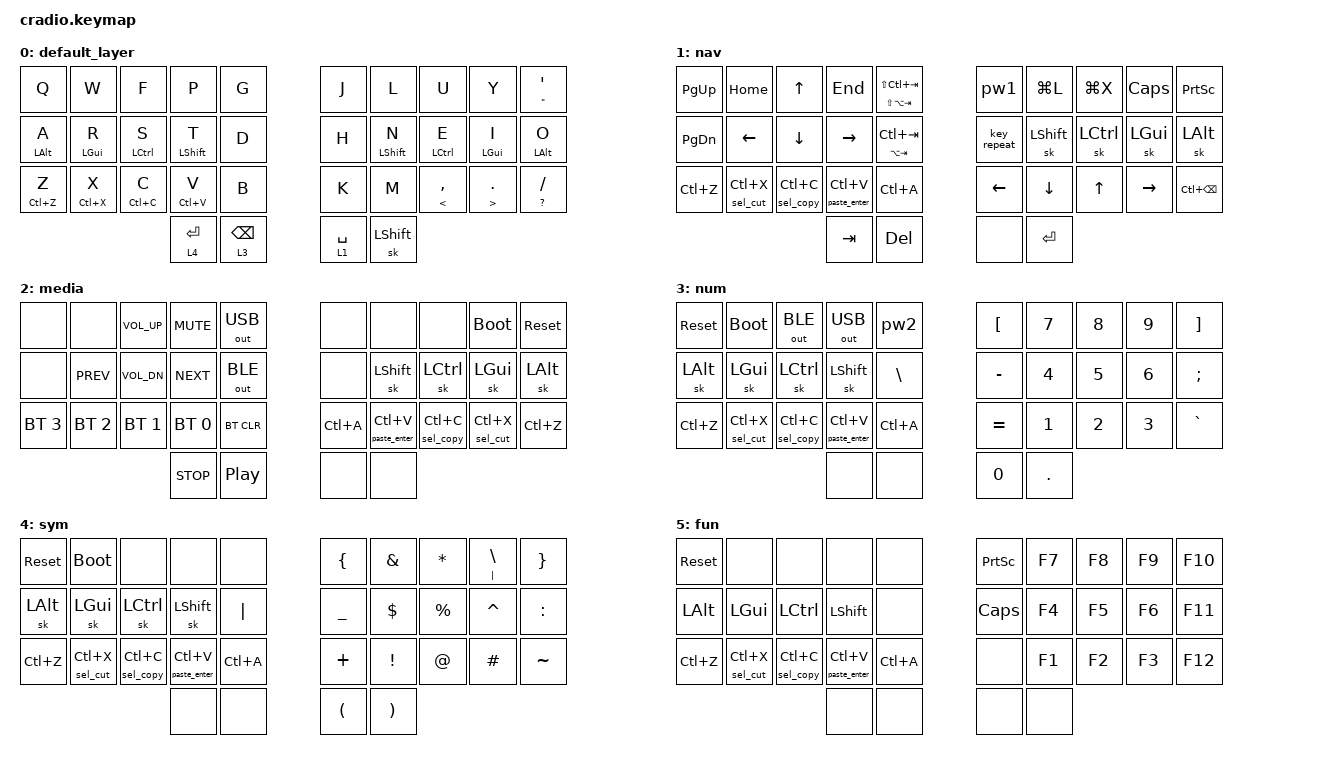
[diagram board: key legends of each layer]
// Copyright (c) 2022 The ZMK Contributors
// SPDX-License-Identifier: MIT

#include <behaviors.dtsi>
#include <dt-bindings/zmk/bt.h>
#include <dt-bindings/zmk/keys.h>
#include <dt-bindings/zmk/outputs.h>

// Home row mods macro

/ {
    behaviors {
        hrm: home_row_mod {
            label = "home_row_mod";
            compatible = "zmk,behavior-hold-tap";
            #binding-cells = <2>;
            flavor = "balanced";
            tapping-term-ms = <400>;
            bindings = <&kp>, <&kp>;

            global-quick-tap;
            quick-tap-ms = <200>;
        };

        ht: hold_tap {
            compatible = "zmk,behavior-hold-tap";
            label = "HOLD_TAP";
            bindings = <&kp>, <&kp>;

            #binding-cells = <2>;
            tapping-term-ms = <220>;
            quick-tap-ms = <150>;
            global-quick-tap;
            flavor = "tap-preferred";
        };

        paste: paste {
            compatible = "zmk,behavior-hold-tap";
            label = "PASTE";
            bindings = <&paste_enter>, <&kp>;

            #binding-cells = <2>;
            tapping-term-ms = <200>;
            flavor = "tap-preferred";
        };

        copy: copy {
            compatible = "zmk,behavior-hold-tap";
            label = "COPY";
            bindings = <&sel_copy>, <&kp>;

            #binding-cells = <2>;
            tapping-term-ms = <200>;
            flavor = "tap-preferred";
        };

        cut: cut {
            compatible = "zmk,behavior-hold-tap";
            label = "CUT";
            bindings = <&sel_cut>, <&kp>;

            #binding-cells = <2>;
            tapping-term-ms = <200>;
            flavor = "tap-preferred";
        };

        sh_cw: shift_caps_word {
            compatible = "zmk,behavior-tap-dance";
            label = "SHIFT_CAPS_WORD";
            #binding-cells = <0>;
            bindings = <&sk LSHFT>, <&caps_word>;
        };
    };

    conditional_layers { compatible = "zmk,conditional-layers"; };

    combos {
        compatible = "zmk,combos";

        fun_pscrn {
            bindings = <&lt 5 PSCRN>;
            key-positions = <30 31>;
            layers = <0>;
        };

        media {
            bindings = <&lt 2 C_PLAY_PAUSE>;
            key-positions = <33 32>;
        };

        esc {
            bindings = <&kp ESC>;
            key-positions = <31 32>;
        };

        capsword {
            bindings = <&caps_word>;
            key-positions = <13 16>;
        };

        del {
            bindings = <&kp DEL>;
            key-positions = <30 33>;
        };
    };

    macros {
        pw1: pw1 {
            compatible = "zmk,behavior-macro";
            label = "PW1";
            #binding-cells = <0>;
            bindings = <&kp LS(F) &kp N &kp STAR &kp C &kp EQUAL &kp STAR &kp COLON &kp LT &kp M &kp W &kp Y &kp LS(H) &kp LS(M) &kp J &kp N6 &kp RET>;
        };

        paste_enter: paste_enter {
            compatible = "zmk,behavior-macro";
            label = "PASTE_ENTER";
            #binding-cells = <0>;
            bindings = <&kp LC(V) &kp RET>;
        };

        sel_cut: sel_cut {
            compatible = "zmk,behavior-macro";
            label = "SEL_CUT";
            #binding-cells = <0>;
            bindings = <&kp LC(A) &kp LC(X)>;
        };

        sel_copy: sel_copy {
            compatible = "zmk,behavior-macro";
            label = "SEL_COPY";
            #binding-cells = <0>;
            bindings = <&kp LC(A) &kp LC(C)>;
        };

        pw2: pw2 {
            compatible = "zmk,behavior-macro";
            label = "PW2";
            #binding-cells = <0>;
            bindings = <&kp LS(T) &kp LS(L) &kp LS(H) &kp LS(A) &kp D &kp LS(C) &kp K &kp N7 &kp LS(A) &kp LS(Z) &kp LS(D) &kp N &kp N8 &kp N2 &kp P &kp LS(P) &kp RET>;
        };
    };

    keymap {
        compatible = "zmk,keymap";

        default_layer {
            bindings = <
&kp Q        &kp W        &kp F         &kp P         &kp G              &kp J        &kp L         &kp U         &kp Y        &ht DOUBLE_QUOTES APOS
&hrm LALT A  &hrm LGUI R  &hrm LCTRL S  &hrm LSHFT T  &kp D              &kp H        &hrm LSHFT N  &hrm LCTRL E  &hrm LGUI I  &hrm LALT O
&ht LC(Z) Z  &ht LC(X) X  &ht LC(C) C   &ht LC(V) V   &kp B              &kp K        &kp M         &ht LT COMMA  &ht GT DOT   &ht QMARK SLASH
                                        &lt 4 RET     &lt 3 BACKSPACE    &lt 1 SPACE  &sk LSHFT
            >;
        };

        nav {
            bindings = <
&kp PG_UP  &kp HOME      &kp UP         &kp END         &ht LS(LA(TAB)) LS(LC(TAB))    &pw1         &kp LG(L)  &kp LG(X)  &kp CAPS   &kp PRINTSCREEN
&kp PG_DN  &kp LEFT      &kp DOWN       &kp RIGHT       &ht LA(TAB) LC(TAB)            &key_repeat  &sk LSHFT  &sk LCTRL  &sk LGUI   &sk LALT
&kp LC(Z)  &cut 0 LC(X)  &copy 0 LC(C)  &paste 0 LC(V)  &kp LC(A)                      &kp LEFT     &kp DOWN   &kp UP     &kp RIGHT  &kp LC(BSPC)
                                        &kp TAB         &kp DEL                        &none        &kp ENTER
            >;
        };

        media {
            bindings = <
&none         &none         &kp C_VOL_UP  &kp C_MUTE    &out OUT_USB        &none      &none           &none          &bootloader   &sys_reset
&none         &kp C_PREV    &kp C_VOL_DN  &kp C_NEXT    &out OUT_BLE        &none      &sk LSHFT       &sk LCTRL      &sk LGUI      &sk LALT
&bt BT_SEL 3  &bt BT_SEL 2  &bt BT_SEL 1  &bt BT_SEL 0  &bt BT_CLR          &kp LC(A)  &paste 0 LC(V)  &copy 0 LC(C)  &cut 0 LC(X)  &kp LC(Z)
                                          &kp C_STOP    &kp C_PLAY_PAUSE    &none      &none
            >;
        };

        num {
            bindings = <
&sys_reset  &bootloader   &out OUT_BLE   &out OUT_USB    &pw2         &kp LBKT   &kp N7   &kp N8  &kp N9  &kp RBKT
&sk LALT    &sk LGUI      &sk LCTRL      &sk LSHFT       &kp BSLH     &kp MINUS  &kp N4   &kp N5  &kp N6  &kp SEMI
&kp LC(Z)   &cut 0 LC(X)  &copy 0 LC(C)  &paste 0 LC(V)  &kp LC(A)    &kp EQUAL  &kp N1   &kp N2  &kp N3  &kp GRAVE
                                         &none           &none        &kp N0     &kp DOT
            >;
        };

        sym {
            bindings = <
&sys_reset  &bootloader   &none          &none           &none        &kp LBRC   &kp AMPS  &kp STAR   &ht PIPE BSLH  &kp RBRC
&sk LALT    &sk LGUI      &sk LCTRL      &sk LSHFT       &kp PIPE     &kp UNDER  &kp DLLR  &kp PRCNT  &kp CARET      &kp COLON
&kp LC(Z)   &cut 0 LC(X)  &copy 0 LC(C)  &paste 0 LC(V)  &kp LC(A)    &kp PLUS   &kp EXCL  &kp AT     &kp HASH       &kp TILDE
                                         &none           &none        &kp LPAR   &kp RPAR
            >;
        };

        fun {
            bindings = <
&sys_reset  &none         &none          &none           &none        &kp PSCRN  &kp F7  &kp F8  &kp F9  &kp F10
&kp LALT    &kp LGUI      &kp LCTRL      &kp LSHFT       &none        &kp CAPS   &kp F4  &kp F5  &kp F6  &kp F11
&kp LC(Z)   &cut 0 LC(X)  &copy 0 LC(C)  &paste 0 LC(V)  &kp LC(A)    &none      &kp F1  &kp F2  &kp F3  &kp F12
                                         &none           &none        &none      &none
            >;
        };
    };
};
